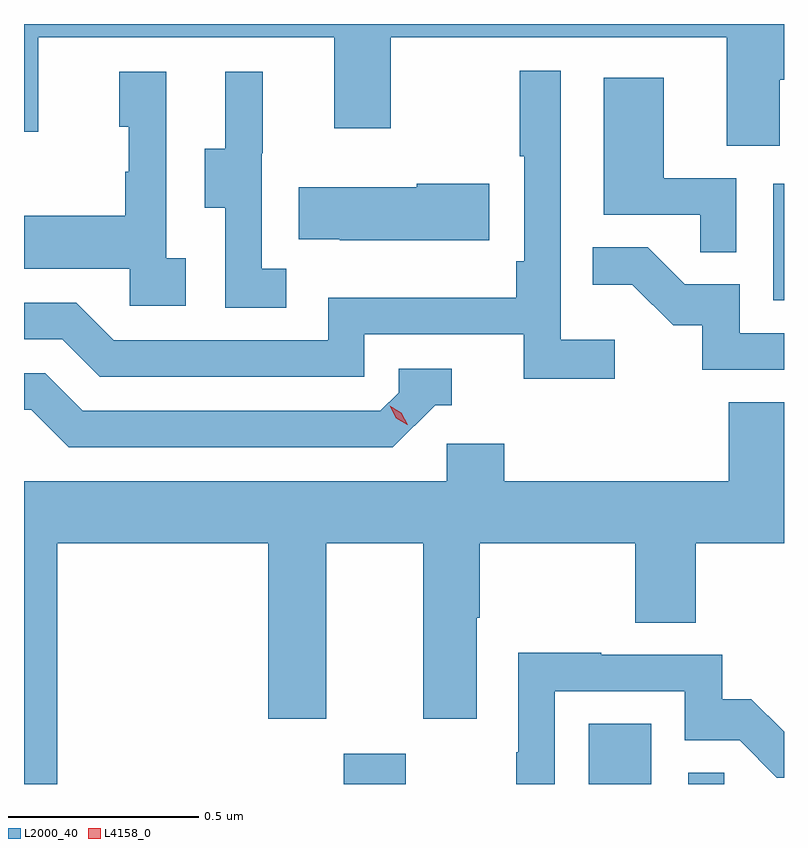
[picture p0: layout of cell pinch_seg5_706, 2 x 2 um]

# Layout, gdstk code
import gdstk
lib = gdstk.Library(unit=1e-6, precision=1e-09)
def R(c, l, rs):  # rectangles x0, y0, x1, y1
    for r in rs: c.add(gdstk.rectangle(r[:2], r[2:], *l))
def P(c, l, *ps):  # polygons
    for p in ps: c.add(gdstk.Polygon(p, *l))
L2000_40 = (2000, 40)
L4158_0 = (4158, 0)

pinch_seg5_706 = lib.new_cell('pinch_seg5_706')
R(pinch_seg5_706, L2000_40, [(1117.943,844.139,1118.107,844.219), (1118.588,844.139,1118.752,844.297), (1118.85,844.139,1118.945,844.169), (1119.074,845.412,1119.102,845.719)])
P(pinch_seg5_706, L2000_40, [(1117.102,845.856),(1117.139,845.856),(1117.139,846.104),(1117.919,846.104),(1117.919,845.865),(1118.067,845.865),(1118.067,846.104),(1118.951,846.104),(1118.951,845.818),(1119.091,845.818),(1119.091,845.992),(1119.102,845.992),(1119.102,846.139),(1117.102,846.139)],
  [(1118.656,845.308),(1118.514,845.308),(1118.514,846.016),(1118.406,846.016),(1118.406,845.791),(1118.418,845.791),(1118.418,845.515),(1118.398,845.515),(1118.398,845.419),(1117.902,845.419),(1117.902,845.307),(1117.338,845.307),(1117.239,845.406),(1117.102,845.406),(1117.102,845.31),(1117.202,845.31),(1117.301,845.211),(1117.998,845.211),(1117.998,845.322),(1118.417,845.322),(1118.417,845.206),(1118.656,845.206)],
  [(1117.792,845.495),(1117.728,845.495),(1117.728,845.799),(1117.73,845.799),(1117.73,846.013),(1117.631,846.013),(1117.631,845.811),(1117.577,845.811),(1117.577,845.656),(1117.632,845.656),(1117.632,845.392),(1117.792,845.392)],
  [(1117.528,845.522),(1117.476,845.522),(1117.476,846.013),(1117.352,846.013),(1117.352,845.868),(1117.378,845.868),(1117.378,845.75),(1117.368,845.75),(1117.368,845.635),(1117.102,845.635),(1117.102,845.495),(1117.38,845.495),(1117.38,845.397),(1117.528,845.397)],
  [(1118.976,845.733),(1118.785,845.733),(1118.785,845.998),(1118.627,845.998),(1118.627,845.637),(1118.881,845.637),(1118.881,845.539),(1118.976,845.539)],
  [(1118.326,845.718),(1118.135,845.718),(1118.135,845.71),(1117.825,845.71),(1117.825,845.573),(1117.933,845.573),(1117.933,845.57),(1118.326,845.57)],
  [(1119.102,845.325),(1118.985,845.325),(1118.985,845.454),(1118.841,845.454),(1118.743,845.552),(1118.599,845.552),(1118.599,845.453),(1118.703,845.453),(1118.81,845.346),(1118.887,845.346),(1118.887,845.229),(1119.102,845.229)],
  [(1118.184,845.136),(1118.227,845.136),(1118.227,845.232),(1118.088,845.232),(1118.088,845.169),(1118.04,845.121),(1117.257,845.121),(1117.158,845.22),(1117.102,845.22),(1117.102,845.124),(1117.121,845.124),(1117.22,845.025),(1118.073,845.025)],
  [(1118.71,844.564),(1118.87,844.564),(1118.87,844.772),(1119.102,844.772),(1119.102,845.144),(1118.957,845.144),(1118.957,844.936),(1118.366,844.936),(1118.366,845.034),(1118.214,845.034),(1118.214,844.936),(1117.102,844.936),(1117.102,844.139),(1117.19,844.139),(1117.19,844.772),(1117.745,844.772),(1117.745,844.311),(1117.897,844.311),(1117.897,844.772),(1118.153,844.772),(1118.153,844.311),(1118.293,844.311),(1118.293,844.576),(1118.301,844.576),(1118.301,844.772),(1118.71,844.772)],
  [(1118.499,844.383),(1118.841,844.383),(1118.841,844.254),(1118.985,844.254),(1119.083,844.156),(1119.102,844.156),(1119.102,844.276),(1119.016,844.362),(1118.94,844.362),(1118.94,844.479),(1118.621,844.479),(1118.621,844.484),(1118.403,844.484),(1118.403,844.223),(1118.398,844.223),(1118.398,844.139),(1118.499,844.139)])
P(pinch_seg5_706, L4158_0, [(1118.111,845.084),(1118.081,845.102),(1118.064,845.135),(1118.064,845.135),(1118.065,845.135),(1118.095,845.116),(1118.112,845.084),(1118.112,845.084)])

lib.write_gds('pinch_seg5_706.gds')
